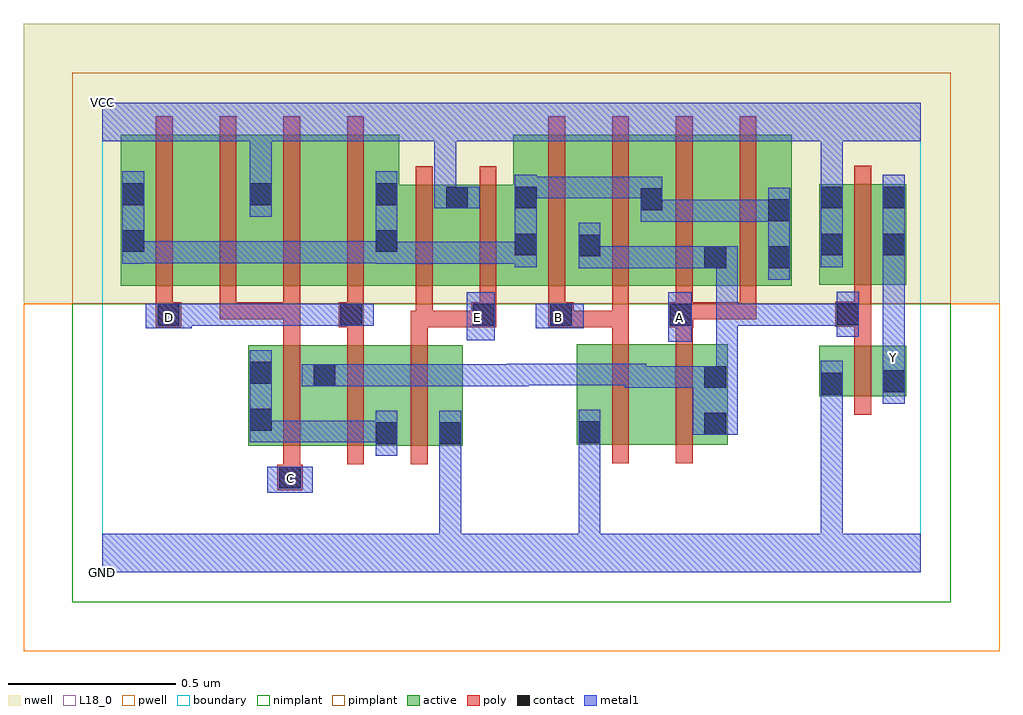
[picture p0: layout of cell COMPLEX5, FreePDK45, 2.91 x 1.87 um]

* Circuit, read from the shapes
.subckt COMPLEX5 A B C D E GND VCC Y
M1 n1 C n2 VSUBS nfet w=0.3u l=0.05u
M2 n2 D n1 VSUBS nfet w=0.3u l=0.05u
M3 GND E n2 VSUBS nfet w=0.3u l=0.05u
M4 n3 B GND VSUBS nfet w=0.3u l=0.05u
M5 n1 A n3 VSUBS nfet w=0.3u l=0.05u
M6 Y n1 GND VSUBS nfet w=0.15u l=0.05u
M7 n4 D n5 n6 pfet w=0.45u l=0.05u
M8 VCC C n4 n6 pfet w=0.45u l=0.05u
M9 n7 C VCC n6 pfet w=0.45u l=0.05u
M10 n5 D n7 n6 pfet w=0.45u l=0.05u
M11 VCC E n5 n6 pfet w=0.3u l=0.05u m=2
M12 n1 B n5 n6 pfet w=0.45u l=0.05u m=2
M13 n1 A n5 n6 pfet w=0.45u l=0.05u m=2
M14 Y n1 VCC n6 pfet w=0.3u l=0.05u
.ends

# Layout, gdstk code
import gdstk
lib = gdstk.Library(unit=1e-6, precision=1e-09)
def R(c, l, rs):  # rectangles x0, y0, x1, y1
    for r in rs: c.add(gdstk.rectangle(r[:2], r[2:], *l))
def A(c, l, x, y, w, h, nx, ny, dx, dy):  # array of equal rectangles
    R(c, l, [(x+i*dx, y+j*dy, x+i*dx+w, y+j*dy+h) for i in range(nx) for j in range(ny)])
active = (1, 0)
pwell = (2, 0)
nwell = (3, 0)
nimplant = (4, 0)
pimplant = (5, 0)
poly = (9, 0)
contact = (10, 0)
metal1 = (11, 0)
L18_0 = (18, 0)
boundary = (235, 0)

complex5 = lib.new_cell('COMPLEX5')
R(complex5, active, [(0.435,0.377,0.7,0.677), (0.625,0.377,0.885,0.677), (0.81,0.377,1.075,0.677), (0.81,0.377,0.885,0.547), (1,0.377,1.075,0.677), (1.415,0.38,1.49,0.68), (1.415,0.38,1.64,0.68), (1.64,0.38,1.865,0.68), (1.79,0.38,1.865,0.68), (0.435,0.407,0.51,0.677), (0.625,0.445,0.7,0.625), (2.137,0.525,2.212,0.675), (2.137,0.525,2.397,0.675), (2.322,0.525,2.397,0.675), (0.055,0.855,0.28,1.305), (0.055,0.855,0.16,1.2), (0.28,0.855,0.51,1.305), (0.435,0.855,0.66,1.305), (0.435,0.855,0.51,1.305), (0.66,0.855,0.885,1.305), (0.81,0.855,1.095,1.155), (1.02,0.855,1.3,1.155), (1.225,0.855,1.3,1.2), (1.225,0.855,1.49,1.305), (1.415,0.855,1.49,1.07), (1.415,0.855,1.675,1.305), (1.6,0.855,1.675,1.2), (1.6,0.855,1.865,1.305), (1.79,0.855,2.055,1.305), (1.79,0.855,1.865,1.07), (1.98,0.855,2.055,1.2), (2.137,0.857,2.212,1.157), (2.137,0.857,2.397,1.157), (2.322,0.857,2.397,1.155), (0.81,0.95,0.885,1.2), (1.02,1.007,1.095,1.155)])
R(complex5, pwell, [(-0.235,-0.235,2.675,0.8)])
R(complex5, nwell, [(-0.235,0.8,2.675,1.635)])
R(complex5, nimplant, [(-0.09,-0.09,2.53,0.8)])
R(complex5, pimplant, [(-0.09,0.8,2.53,1.49)])
A(complex5, poly, 0.54, 0.322, 0.05, 0.41, 3, 1, 0.19, 0)
A(complex5, poly, 0.16, 0.755, 0.05, 0.095, 4, 1, 0.19, 0)
A(complex5, poly, 0.16, 0.8, 0.05, 0.56, 4, 1, 0.19, 0)
A(complex5, poly, 1.33, 0.8, 0.05, 0.56, 4, 1, 0.19, 0)
R(complex5, poly, [(0.522,0.245,0.597,0.32), (0.54,0.27,0.59,0.372), (1.52,0.325,1.57,0.735), (1.71,0.325,1.76,0.735), (2.242,0.47,2.292,0.73), (2.242,0.68,2.292,0.782), (0.54,0.682,0.59,0.805), (0.73,0.682,0.78,0.78), (0.92,0.682,0.97,0.78), (1.52,0.685,1.57,0.78), (1.71,0.685,1.76,0.78), (0.16,0.73,0.235,0.805), (0.705,0.73,0.78,0.805), (0.92,0.73,0.985,0.78), (0.935,0.73,0.985,0.78), (0.935,0.73,0.985,0.78), (0.935,0.73,0.985,0.85), (0.935,0.73,1.15,0.78), (1.1,0.73,1.175,0.805), (1.33,0.73,1.405,0.805), (1.355,0.73,1.405,0.78), (1.355,0.73,1.405,0.78), (1.355,0.73,1.57,0.78), (1.52,0.73,1.57,0.78), (1.52,0.73,1.57,0.85), (1.687,0.73,1.762,0.805), (2.185,0.732,2.292,0.807), (0.35,0.755,0.4,0.805), (0.35,0.755,0.4,0.805), (0.35,0.755,0.4,0.805), (0.35,0.755,0.59,0.805), (0.54,0.755,0.59,0.805), (1.125,0.755,1.175,0.85), (1.33,0.755,1.38,0.85), (1.71,0.755,1.76,0.85), (1.712,0.755,1.95,0.805), (1.9,0.755,1.95,0.85), (1.9,0.755,1.95,0.805), (1.9,0.755,1.95,0.805), (1.9,0.755,1.95,0.805), (2.242,0.757,2.292,0.852), (0.935,0.8,0.985,1.21), (1.125,0.8,1.175,1.21), (2.242,0.802,2.292,1.212)])
R(complex5, contact, [(0.527,0.25,0.592,0.315), (0.815,0.382,0.88,0.447), (1.005,0.382,1.07,0.447), (1.42,0.385,1.485,0.45), (1.795,0.41,1.86,0.475), (0.44,0.422,0.505,0.487), (2.142,0.53,2.207,0.595), (2.327,0.537,2.392,0.602), (1.795,0.55,1.86,0.615), (0.63,0.555,0.695,0.62), (0.44,0.562,0.505,0.627), (0.165,0.735,0.23,0.8), (0.71,0.735,0.775,0.8), (1.105,0.735,1.17,0.8), (1.335,0.735,1.4,0.8), (1.692,0.735,1.757,0.8), (2.19,0.737,2.255,0.802), (1.795,0.907,1.86,0.972), (1.985,0.907,2.05,0.972), (1.42,0.942,1.485,1.007), (1.23,0.945,1.295,1.01), (2.142,0.945,2.207,1.01), (2.327,0.945,2.392,1.01), (0.06,0.955,0.125,1.02), (0.815,0.955,0.88,1.02), (1.985,1.047,2.05,1.112), (1.605,1.08,1.67,1.145), (1.025,1.085,1.09,1.15), (1.23,1.085,1.295,1.15), (2.142,1.085,2.207,1.15), (2.327,1.085,2.392,1.15), (0.06,1.095,0.125,1.16), (0.44,1.095,0.505,1.16), (0.815,1.095,0.88,1.16)])
R(complex5, metal1, [(0,0,2.44,0.115), (1.005,0.05,1.07,0.412), (1.42,0.05,1.485,0.115), (1.42,0.05,1.485,0.115), (1.42,0.05,1.485,0.115), (1.42,0.05,1.485,0.115), (1.42,0.05,1.485,0.115), (1.42,0.05,1.485,0.115), (1.42,0.05,1.485,0.415), (2.142,0.05,2.207,0.115), (2.142,0.05,2.207,0.115), (2.142,0.05,2.207,0.115), (2.142,0.05,2.207,0.115), (2.142,0.05,2.207,0.115), (2.142,0.05,2.207,0.115), (2.142,0.05,2.207,0.56), (0.492,0.237,0.627,0.315), (0.815,0.347,0.88,0.482), (1.005,0.347,1.07,0.412), (1.005,0.347,1.07,0.412), (1.005,0.347,1.07,0.412), (1.005,0.347,1.07,0.412), (1.005,0.347,1.07,0.412), (1.005,0.347,1.07,0.412), (1.005,0.347,1.07,0.482), (1.42,0.35,1.485,0.485), (0.44,0.387,0.505,0.662), (0.44,0.387,0.542,0.452), (0.477,0.387,0.542,0.452), (0.477,0.387,0.68,0.452), (0.615,0.387,0.68,0.452), (0.615,0.387,0.68,0.452), (0.615,0.387,0.68,0.452), (0.615,0.387,0.88,0.452), (1.76,0.41,1.895,0.615), (2.142,0.495,2.207,0.56), (2.142,0.495,2.207,0.56), (2.142,0.495,2.207,0.63), (2.327,0.502,2.392,0.637), (1.557,0.55,1.622,0.615), (1.557,0.55,1.622,0.615), (1.557,0.55,1.825,0.615), (1.557,0.55,1.622,0.622), (1.83,0.55,1.895,0.8), (0.595,0.555,0.73,0.62), (0.665,0.555,0.73,0.62), (0.665,0.555,0.73,0.62), (0.665,0.555,0.917,0.62), (0.852,0.555,0.917,0.62), (0.852,0.555,0.917,0.62), (0.852,0.555,0.917,0.62), (0.852,0.555,1.135,0.62), (1.07,0.555,1.135,0.62), (1.07,0.555,1.135,0.62), (1.07,0.555,1.135,0.62), (1.07,0.555,1.272,0.62), (1.207,0.555,1.272,0.62), (1.207,0.555,1.272,0.62), (1.207,0.555,1.272,0.622), (1.207,0.557,1.432,0.622), (1.367,0.557,1.432,0.622), (1.367,0.557,1.432,0.622), (1.367,0.557,1.432,0.622), (1.367,0.557,1.622,0.622), (2.327,0.572,2.392,0.637), (2.327,0.572,2.392,0.707), (2.327,0.642,2.392,0.975), (1.687,0.687,1.757,0.835), (1.087,0.692,1.17,0.835), (2.19,0.702,2.255,0.837), (0.13,0.727,0.267,0.8), (1.292,0.727,1.435,0.8), (0.202,0.735,0.267,0.8), (0.202,0.735,0.267,0.8), (0.202,0.735,0.405,0.8), (0.34,0.735,0.405,0.8), (0.34,0.735,0.405,0.8), (0.34,0.735,0.405,0.8), (0.34,0.735,0.542,0.8), (0.477,0.735,0.542,0.8), (0.477,0.735,0.74,0.8), (0.675,0.735,0.74,0.8), (0.675,0.735,0.74,0.8), (0.675,0.735,0.81,0.8), (1.83,0.735,1.895,0.8), (1.83,0.735,2.07,0.8), (1.83,0.735,1.895,0.972), (2.005,0.735,2.07,0.8), (2.005,0.735,2.07,0.8), (2.005,0.735,2.07,0.8), (2.005,0.735,2.255,0.8), (2.19,0.735,2.255,0.8), (2.19,0.735,2.255,0.8), (1.985,0.872,2.05,1.147), (1.42,0.907,1.485,0.972), (1.42,0.907,1.485,0.972), (1.42,0.907,1.485,1.042), (1.42,0.907,1.687,0.972), (1.622,0.907,1.687,0.972), (1.622,0.907,1.825,0.972), (1.76,0.907,1.825,0.972), (1.76,0.907,1.825,0.972), (1.76,0.907,1.895,0.972), (1.23,0.91,1.295,1.185), (2.142,0.91,2.207,1.185), (2.327,0.91,2.392,1.185), (0.06,0.92,0.125,1.195), (0.815,0.92,0.88,1.195), (0.815,0.92,0.88,0.985), (0.815,0.92,0.88,0.985), (0.815,0.92,1.055,0.985), (0.99,0.92,1.055,0.985), (0.99,0.92,1.055,0.985), (0.99,0.92,1.055,0.985), (0.99,0.92,1.295,0.985), (0.06,0.922,0.125,0.987), (0.06,0.922,0.125,0.987), (0.06,0.922,0.262,0.987), (0.197,0.922,0.262,0.987), (0.197,0.922,0.405,0.987), (0.34,0.922,0.405,0.987), (0.34,0.922,0.405,0.987), (0.34,0.922,0.405,0.987), (0.34,0.922,0.542,0.987), (0.477,0.922,0.542,0.987), (0.477,0.922,0.69,0.987), (0.625,0.922,0.69,0.987), (0.625,0.922,0.69,0.987), (0.625,0.922,0.69,0.987), (0.625,0.922,0.88,0.987), (1.605,1.045,1.67,1.11), (1.605,1.045,1.67,1.11), (1.605,1.045,1.67,1.18), (1.605,1.045,1.912,1.11), (1.847,1.045,1.912,1.11), (1.847,1.045,2.05,1.11), (1.985,1.045,2.05,1.11), (1.985,1.045,2.05,1.11), (0.44,1.06,0.505,1.195), (0.99,1.085,1.125,1.15), (0.99,1.085,1.055,1.35), (1.23,1.115,1.295,1.18), (1.23,1.115,1.295,1.18), (1.23,1.115,1.295,1.18), (1.23,1.115,1.432,1.18), (1.23,1.115,1.295,1.185), (1.367,1.115,1.432,1.18), (1.367,1.115,1.432,1.18), (1.367,1.115,1.432,1.18), (1.367,1.115,1.67,1.18), (2.142,1.12,2.207,1.185), (2.142,1.12,2.207,1.185), (2.142,1.12,2.207,1.35), (0.44,1.13,0.505,1.35), (0,1.285,2.44,1.4), (0.99,1.285,1.055,1.35), (0.99,1.285,1.055,1.35)])
R(complex5, L18_0, [(0,0,2.44,0.115), (1.005,0.05,1.07,0.412), (1.42,0.05,1.485,0.115), (1.42,0.05,1.485,0.115), (1.42,0.05,1.485,0.115), (1.42,0.05,1.485,0.115), (1.42,0.05,1.485,0.115), (1.42,0.05,1.485,0.115), (1.42,0.05,1.485,0.415), (2.142,0.05,2.207,0.115), (2.142,0.05,2.207,0.115), (2.142,0.05,2.207,0.115), (2.142,0.05,2.207,0.115), (2.142,0.05,2.207,0.115), (2.142,0.05,2.207,0.115), (2.142,0.05,2.207,0.56), (0.492,0.237,0.627,0.315), (0.527,0.247,0.592,0.312), (1.005,0.347,1.07,0.412), (1.005,0.347,1.07,0.412), (1.005,0.347,1.07,0.412), (1.005,0.347,1.07,0.412), (1.005,0.347,1.07,0.412), (1.005,0.347,1.07,0.412), (1.005,0.347,1.07,0.482), (1.42,0.35,1.485,0.485), (2.142,0.495,2.207,0.56), (2.142,0.495,2.207,0.56), (2.142,0.495,2.207,0.63), (2.327,0.502,2.392,0.637), (2.327,0.572,2.392,0.637), (2.327,0.572,2.392,0.707), (2.327,0.607,2.392,0.672), (2.327,0.642,2.392,0.975), (1.687,0.687,1.757,0.835), (1.087,0.692,1.17,0.835), (0.13,0.727,0.267,0.8), (0.167,0.727,0.232,0.792), (1.087,0.727,1.152,0.792), (1.292,0.727,1.435,0.8), (1.327,0.727,1.392,0.792), (1.687,0.727,1.752,0.792), (0.202,0.735,0.267,0.8), (0.202,0.735,0.267,0.8), (0.202,0.735,0.405,0.8), (0.34,0.735,0.405,0.8), (0.34,0.735,0.405,0.8), (0.34,0.735,0.405,0.8), (0.34,0.735,0.542,0.8), (0.477,0.735,0.542,0.8), (0.477,0.735,0.74,0.8), (0.675,0.735,0.74,0.8), (0.675,0.735,0.74,0.8), (0.675,0.735,0.81,0.8), (2.142,0.91,2.207,1.185), (2.327,0.91,2.392,1.185), (0.44,1.06,0.505,1.195), (0.99,1.085,1.125,1.15), (0.99,1.085,1.055,1.35), (2.142,1.12,2.207,1.185), (2.142,1.12,2.207,1.185), (2.142,1.12,2.207,1.35), (0.44,1.13,0.505,1.35), (0,1.285,2.44,1.4), (0.99,1.285,1.055,1.35), (0.99,1.285,1.055,1.35)])
R(complex5, boundary, [(0,0,2.44,1.4)])
complex5.add(gdstk.Label('A', (1.72,0.76), layer=11, texttype=0))
complex5.add(gdstk.Label('B', (1.36,0.76), layer=11, texttype=0))
complex5.add(gdstk.Label('C', (0.56,0.28), layer=11, texttype=0))
complex5.add(gdstk.Label('D', (0.2,0.76), layer=11, texttype=0))
complex5.add(gdstk.Label('E', (1.12,0.76), layer=11, texttype=0))
complex5.add(gdstk.Label('Y', (2.36,0.64), layer=11, texttype=0))
complex5.add(gdstk.Label('VCC', (0,1.4), layer=11, texttype=0))
complex5.add(gdstk.Label('GND', (0,0), layer=11, texttype=0))

lib.write_gds('COMPLEX5.gds')
